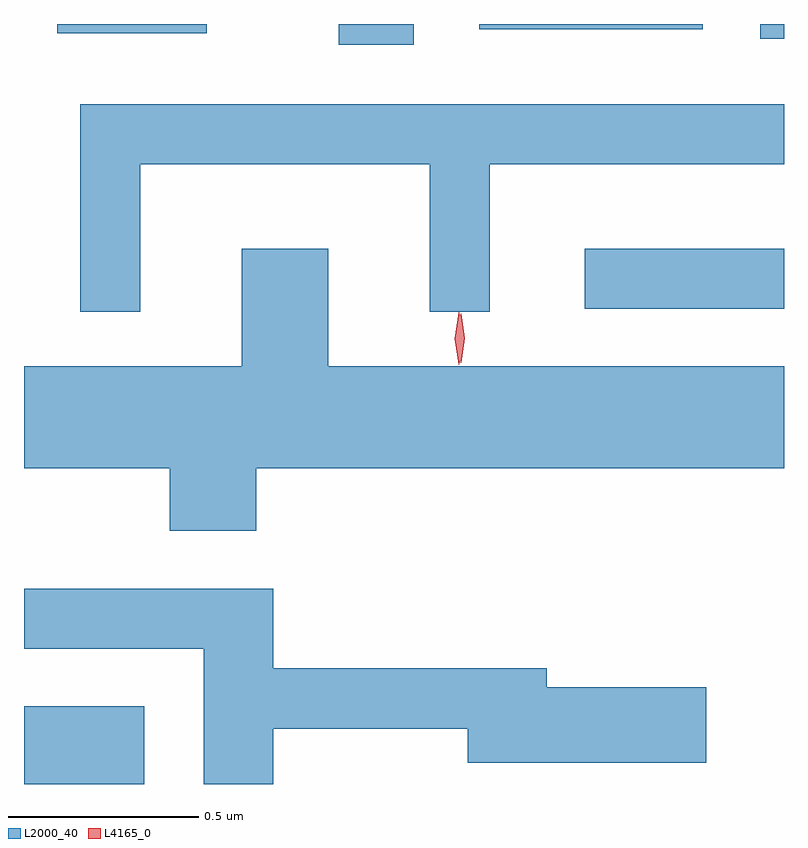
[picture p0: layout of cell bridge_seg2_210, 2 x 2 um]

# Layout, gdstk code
import gdstk
lib = gdstk.Library(unit=1e-6, precision=1e-09)
def R(c, l, rs):  # rectangles x0, y0, x1, y1
    for r in rs: c.add(gdstk.rectangle(r[:2], r[2:], *l))
def P(c, l, *ps):  # polygons
    for p in ps: c.add(gdstk.Polygon(p, *l))
L2000_40 = (2000, 40)
L4165_0 = (4165, 0)

bridge_seg2_210 = lib.new_cell('bridge_seg2_210')
R(bridge_seg2_210, L2000_40, [(959.648,985.325,959.964,985.529), (961.123,986.576,961.648,986.734), (960.476,987.271,960.674,987.325), (961.586,987.286,961.648,987.325), (959.736,987.301,960.129,987.325), (960.846,987.311,961.434,987.325)])
P(bridge_seg2_210, L2000_40, [(959.954,986.956),(960.716,986.956),(960.716,986.568),(960.874,986.568),(960.874,986.956),(961.648,986.956),(961.648,987.114),(959.796,987.114),(959.796,986.568),(959.954,986.568)],
  [(960.221,986.734),(960.221,986.424),(959.648,986.424),(959.648,986.156),(960.031,986.156),(960.031,985.991),(960.259,985.991),(960.259,986.156),(961.648,986.156),(961.648,986.424),(960.449,986.424),(960.449,986.734)],
  [(960.304,985.471),(960.816,985.471),(960.816,985.381),(961.444,985.381),(961.444,985.579),(961.024,985.579),(961.024,985.629),(960.304,985.629),(960.304,985.839),(959.648,985.839),(959.648,985.681),(960.121,985.681),(960.121,985.325),(960.304,985.325)])
P(bridge_seg2_210, L4165_0, [(960.792,986.428),(960.792,986.429),(960.782,986.497),(960.792,986.565),(960.792,986.566),(960.793,986.565),(960.802,986.497),(960.793,986.429)],
  [(960.797,986.433),(960.788,986.498),(960.797,986.562),(960.798,986.562),(960.798,986.562),(960.808,986.498),(960.798,986.433),(960.798,986.433)])

lib.write_gds('bridge_seg2_210.gds')
